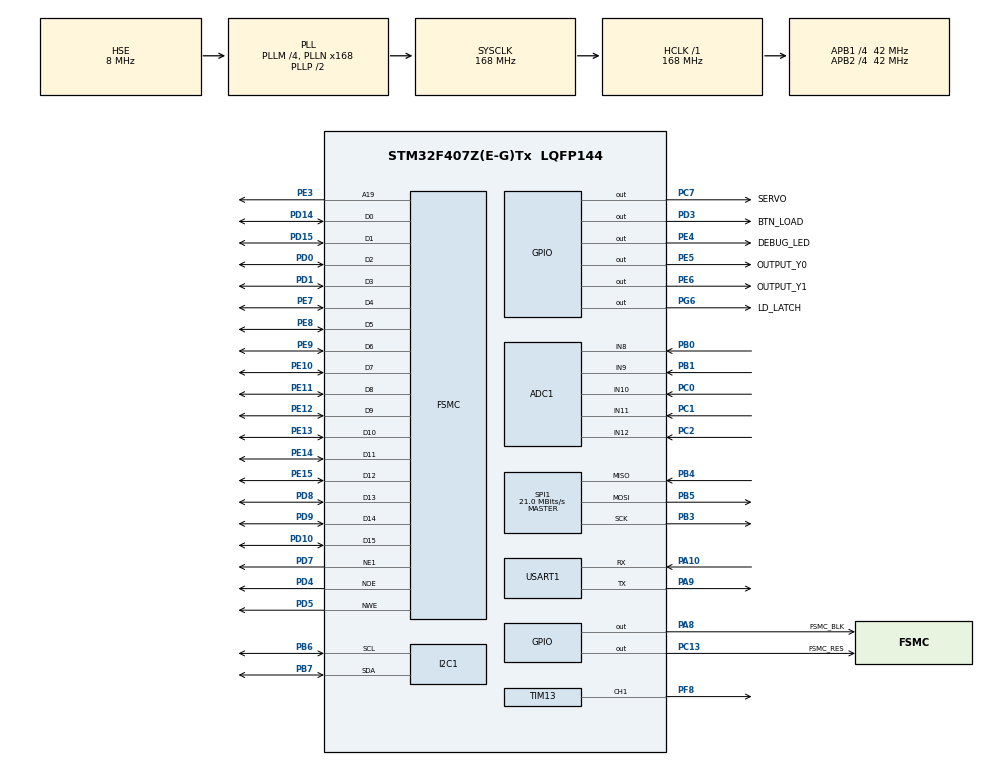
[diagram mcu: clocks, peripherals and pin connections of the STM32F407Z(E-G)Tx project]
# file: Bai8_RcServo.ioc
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ADC1.Channel-0\#ChannelRegularConversion=ADC_CHANNEL_8
ADC1.Channel-1\#ChannelRegularConversion=ADC_CHANNEL_9
ADC1.Channel-2\#ChannelRegularConversion=ADC_CHANNEL_10
ADC1.Channel-3\#ChannelRegularConversion=ADC_CHANNEL_11
ADC1.Channel-4\#ChannelRegularConversion=ADC_CHANNEL_12
ADC1.NbrOfConversion=5
ADC1.NbrOfConversionFlag=1
ADC1.Rank-0\#ChannelRegularConversion=1
ADC1.Rank-1\#ChannelRegularConversion=2
ADC1.Rank-2\#ChannelRegularConversion=3
ADC1.Rank-3\#ChannelRegularConversion=4
ADC1.Rank-4\#ChannelRegularConversion=5
ADC1.SamplingTime-0\#ChannelRegularConversion=ADC_SAMPLETIME_15CYCLES
ADC1.SamplingTime-1\#ChannelRegularConversion=ADC_SAMPLETIME_15CYCLES
ADC1.SamplingTime-2\#ChannelRegularConversion=ADC_SAMPLETIME_15CYCLES
ADC1.SamplingTime-3\#ChannelRegularConversion=ADC_SAMPLETIME_15CYCLES
ADC1.SamplingTime-4\#ChannelRegularConversion=ADC_SAMPLETIME_15CYCLES
ADC1.ScanConvMode=ENABLE
ADC1.master=1
Dma.ADC1.0.Direction=DMA_PERIPH_TO_MEMORY
Dma.ADC1.0.FIFOMode=DMA_FIFOMODE_DISABLE
Dma.ADC1.0.Instance=DMA2_Stream0
Dma.ADC1.0.MemDataAlignment=DMA_MDATAALIGN_HALFWORD
Dma.ADC1.0.MemInc=DMA_MINC_ENABLE
Dma.ADC1.0.Mode=DMA_CIRCULAR
Dma.ADC1.0.PeriphDataAlignment=DMA_PDATAALIGN_HALFWORD
Dma.ADC1.0.PeriphInc=DMA_PINC_DISABLE
Dma.ADC1.0.Priority=DMA_PRIORITY_LOW
Dma.Request0=ADC1
FSMC.AddressSetupTime1=0xf
FSMC.BusTurnAroundDuration1=0
FSMC.DataSetupTime1=60
FSMC.ExtendedAddressSetupTime1=9
FSMC.ExtendedBusTurnAroundDuration1=0
FSMC.ExtendedDataSetupTime1=8
FSMC.ExtendedMode1=FSMC_EXTENDED_MODE_ENABLE
Mcu.Family=STM32F4
Mcu.Name=STM32F407Z(E-G)Tx
Mcu.Package=LQFP144
NVIC.DMA2_Stream0_IRQn=true\:0\:0\:false\:false\:true\:false\:true
NVIC.PriorityGroup=NVIC_PRIORITYGROUP_4
NVIC.TIM2_IRQn=true\:0\:0\:false\:false\:true\:true\:true
NVIC.USART1_IRQn=true\:0\:0\:false\:false\:true\:true\:true
PA10.Mode=Asynchronous
PA10.Signal=USART1_RX
PA13.Mode=Serial_Wire
PA13.Signal=SYS_JTMS-SWDIO
PA14.Mode=Serial_Wire
PA14.Signal=SYS_JTCK-SWCLK
PA8.GPIO_Label=FSMC_BLK
PA8.Signal=GPIO_Output
PA9.Mode=Asynchronous
PA9.Signal=USART1_TX
PB0.Signal=ADCx_IN8
PB1.Signal=ADCx_IN9
PB3.Mode=Full_Duplex_Master
PB3.Signal=SPI1_SCK
PB4.Mode=Full_Duplex_Master
PB4.Signal=SPI1_MISO
PB5.Mode=Full_Duplex_Master
PB5.Signal=SPI1_MOSI
PB6.Mode=I2C
PB6.Signal=I2C1_SCL
PB7.Mode=I2C
PB7.Signal=I2C1_SDA
PC0.Signal=ADCx_IN10
PC1.Signal=ADCx_IN11
PC13-ANTI_TAMP.GPIO_Label=FSMC_RES
PC13-ANTI_TAMP.Signal=GPIO_Output
PC2.Signal=ADCx_IN12
PC7.GPIO_Label=SERVO
PC7.GPIO_Speed=GPIO_SPEED_FREQ_VERY_HIGH
PC7.Signal=GPIO_Output
PD0.Signal=FSMC_D2_DA2
PD1.Signal=FSMC_D3_DA3
PD10.Signal=FSMC_D15_DA15
PD14.Signal=FSMC_D0_DA0
PD15.Signal=FSMC_D1_DA1
PD3.GPIO_Label=BTN_LOAD
PD3.Signal=GPIO_Output
PD4.Signal=FSMC_NOE
PD5.Signal=FSMC_NWE
PD7.Mode=NorPsramChipSelect1_1
PD7.Signal=FSMC_NE1
PD8.Signal=FSMC_D13_DA13
PD9.Signal=FSMC_D14_DA14
PE10.Signal=FSMC_D7_DA7
PE11.Signal=FSMC_D8_DA8
PE12.Signal=FSMC_D9_DA9
PE13.Signal=FSMC_D10_DA10
PE14.Signal=FSMC_D11_DA11
PE15.Signal=FSMC_D12_DA12
PE3.Signal=FSMC_A19
PE4.GPIO_Label=DEBUG_LED
PE4.Signal=GPIO_Output
PE5.GPIO_Label=OUTPUT_Y0
PE5.Signal=GPIO_Output
PE6.GPIO_Label=OUTPUT_Y1
PE6.Signal=GPIO_Output
PE7.Signal=FSMC_D4_DA4
PE8.Signal=FSMC_D5_DA5
PE9.Signal=FSMC_D6_DA6
PF8.Signal=S_TIM13_CH1
PG6.GPIO_Label=LD_LATCH
PG6.Signal=GPIO_Output
PH0-OSC_IN.Mode=HSE-External-Oscillator
PH0-OSC_IN.Signal=RCC_OSC_IN
PH1-OSC_OUT.Mode=HSE-External-Oscillator
PH1-OSC_OUT.Signal=RCC_OSC_OUT
ProjectManager.HeapSize=0x200
ProjectManager.StackSize=0x400
ProjectManager.TargetToolchain=STM32CubeIDE
RCC.48MHZClocksFreq_Value=84000000
RCC.AHBFreq_Value=168000000
RCC.APB1CLKDivider=RCC_HCLK_DIV4
RCC.APB1Freq_Value=42000000
RCC.APB1TimFreq_Value=84000000
RCC.APB2CLKDivider=RCC_HCLK_DIV4
RCC.APB2Freq_Value=42000000
RCC.APB2TimFreq_Value=84000000
RCC.CortexFreq_Value=168000000
RCC.HCLKFreq_Value=168000000
RCC.HSE_VALUE=8000000
RCC.HSI_VALUE=16000000
RCC.LSE_VALUE=32768
RCC.PLLM=4
RCC.PLLN=168
RCC.PLLSourceVirtual=RCC_PLLSOURCE_HSE
RCC.SYSCLKFreq_VALUE=168000000
RCC.SYSCLKSource=RCC_SYSCLKSOURCE_PLLCLK
RCC.VCOOutputFreq_Value=336000000
SH.ADCx_IN10.0=ADC1_IN10,IN10
SH.ADCx_IN11.0=ADC1_IN11,IN11
SH.ADCx_IN12.0=ADC1_IN12,IN12
SH.ADCx_IN8.0=ADC1_IN8,IN8
SH.ADCx_IN9.0=ADC1_IN9,IN9
SH.FSMC_A19.0=FSMC_A19,A19_1
SH.FSMC_D0_DA0.0=FSMC_D0,16b-d1
SH.FSMC_D10_DA10.0=FSMC_D10,16b-d1
SH.FSMC_D11_DA11.0=FSMC_D11,16b-d1
SH.FSMC_D12_DA12.0=FSMC_D12,16b-d1
SH.FSMC_D13_DA13.0=FSMC_D13,16b-d1
SH.FSMC_D14_DA14.0=FSMC_D14,16b-d1
SH.FSMC_D15_DA15.0=FSMC_D15,16b-d1
SH.FSMC_D1_DA1.0=FSMC_D1,16b-d1
SH.FSMC_D2_DA2.0=FSMC_D2,16b-d1
SH.FSMC_D3_DA3.0=FSMC_D3,16b-d1
SH.FSMC_D4_DA4.0=FSMC_D4,16b-d1
SH.FSMC_D5_DA5.0=FSMC_D5,16b-d1
SH.FSMC_D6_DA6.0=FSMC_D6,16b-d1
SH.FSMC_D7_DA7.0=FSMC_D7,16b-d1
SH.FSMC_D8_DA8.0=FSMC_D8,16b-d1
SH.FSMC_D9_DA9.0=FSMC_D9,16b-d1
SH.FSMC_NOE.0=FSMC_NOE,Lcd1
SH.FSMC_NWE.0=FSMC_NWE,Lcd1
SH.S_TIM13_CH1.0=TIM13_CH1,PWM Generation1 CH1
SPI1.CalculateBaudRate=21.0 MBits/s
SPI1.Direction=SPI_DIRECTION_2LINES
SPI1.Mode=SPI_MODE_MASTER
SPI1.VirtualType=VM_MASTER
TIM13.Channel=TIM_CHANNEL_1
TIM13.Period=100-1
TIM13.Prescaler=840-1
TIM2.Period=100-1
TIM2.Prescaler=840-1
USART1.VirtualMode=VM_ASYNC
VP_TIM13_VS_ClockSourceINT.Mode=Enable_Timer
VP_TIM2_VS_ClockSourceINT.Mode=Internal
board=custom

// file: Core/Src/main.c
/* USER CODE BEGIN Header */
/**
  ******************************************************************************
  * @file           : main.c
  * @brief          : Main program body
  ******************************************************************************
  * @attention
  *
  * <h2><center>&copy; Copyright (c) 2023 STMicroelectronics.
  * All rights reserved.</center></h2>
  *
  * This software component is licensed by ST under BSD 3-Clause license,
  * the "License"; You may not use this file except in compliance with the
  * License. You may obtain a copy of the License at:
  *                        opensource.org/licenses/BSD-3-Clause
  *
  ******************************************************************************
  */
/* USER CODE END Header */
#include "main.h"
#include "adc.h"
#include "dma.h"
#include "i2c.h"
#include "spi.h"
#include "tim.h"
#include "usart.h"
#include "gpio.h"
#include "fsmc.h"

/* USER CODE BEGIN Includes */
#include "software_timer.h"
#include "button.h"
#include "led7seg.h"
#include "lcd.h"
#include "picture.h"
#include "ds3231.h"
#include "sensor.h"
#include "buzzer.h"
/* USER CODE END Includes */

/* USER CODE BEGIN PV */
uint8_t count_led_debug = 0;

uint16_t count_led7 = 0;
/* USER CODE END PV */

void SystemClock_Config(void);
/* USER CODE BEGIN PFP */
void system_init();
void test_LedDebug();
uint8_t isButtonUp();
uint8_t isButtonDown();
void test_Adc();
void test_Uart1();
void test_Uart2();
/* USER CODE END PFP */

int main(void)
{

  /* MCU Configuration--------------------------------------------------------*/

  /* Reset of all peripherals, Initializes the Flash interface and the Systick. */
  HAL_Init();

  /* Configure the system clock */
  SystemClock_Config();

  /* Initialize all configured peripherals */
  MX_GPIO_Init();
  MX_TIM2_Init();
  MX_SPI1_Init();
  MX_FSMC_Init();
  MX_DMA_Init();
  MX_ADC1_Init();
  MX_TIM13_Init();
  MX_I2C1_Init();
  MX_USART1_UART_Init();
  /* USER CODE BEGIN 2 */
  system_init();
  lcd_Clear(BLACK);
  HAL_Delay(1000);
  lcd_Fill(0, 0, 240, 20, BLUE);
  lcd_StrCenter(0, 0, "Xin chao cac ban", WHITE, BLUE, 16, 0);
  lcd_ShowStr(30, 30, "Ten: Thinh", RED, YELLOW, 24, 0);
  lcd_ShowStr(30, 60, "Nam sinh:", GREEN, BLACK, 24, 0);
  lcd_ShowIntNum(150, 60, 2002, 4, BRED, BLACK, 24);
  lcd_ShowPicture(70, 200, 97, 100, gImage_bk);
  HAL_Delay(2000);
  uart_Rs232SendString("Xin chao lop vdk");
  /* USER CODE END 2 */

  /* Infinite loop */
  /* USER CODE BEGIN WHILE */
  while (1)
  {
	  while(!flag_timer2);
	  flag_timer2 = 0;
	  button_Scan();
	  test_LedDebug();
//	  test_Adc();
//	  test_Uart1();
//	  test_Uart2();
//	  buzzer_Ring();
	  if(button_count[3] == 1) servo_SetAngle(0);
	  if(button_count[7] == 1) servo_SetAngle(180);
    /* USER CODE END WHILE */

  }
}

void SystemClock_Config(void)
{
  RCC_OscInitTypeDef RCC_OscInitStruct = {0};
  RCC_ClkInitTypeDef RCC_ClkInitStruct = {0};

  /** Configure the main internal regulator output voltage
  */
  __HAL_RCC_PWR_CLK_ENABLE();
  __HAL_PWR_VOLTAGESCALING_CONFIG(PWR_REGULATOR_VOLTAGE_SCALE1);
  /** Initializes the RCC Oscillators according to the specified parameters
  * in the RCC_OscInitTypeDef structure.
  */
  RCC_OscInitStruct.OscillatorType = RCC_OSCILLATORTYPE_HSE;
  RCC_OscInitStruct.HSEState = RCC_HSE_ON;
  RCC_OscInitStruct.PLL.PLLState = RCC_PLL_ON;
  RCC_OscInitStruct.PLL.PLLSource = RCC_PLLSOURCE_HSE;
  RCC_OscInitStruct.PLL.PLLM = 4;
  RCC_OscInitStruct.PLL.PLLN = 168;
  RCC_OscInitStruct.PLL.PLLP = RCC_PLLP_DIV2;
  RCC_OscInitStruct.PLL.PLLQ = 4;
  if (HAL_RCC_OscConfig(&RCC_OscInitStruct) != HAL_OK)
  {
    Error_Handler();
  }
  /** Initializes the CPU, AHB and APB buses clocks
  */
  RCC_ClkInitStruct.ClockType = RCC_CLOCKTYPE_HCLK|RCC_CLOCKTYPE_SYSCLK
                              |RCC_CLOCKTYPE_PCLK1|RCC_CLOCKTYPE_PCLK2;
  RCC_ClkInitStruct.SYSCLKSource = RCC_SYSCLKSOURCE_PLLCLK;
  RCC_ClkInitStruct.AHBCLKDivider = RCC_SYSCLK_DIV1;
  RCC_ClkInitStruct.APB1CLKDivider = RCC_HCLK_DIV4;
  RCC_ClkInitStruct.APB2CLKDivider = RCC_HCLK_DIV4;

  if (HAL_RCC_ClockConfig(&RCC_ClkInitStruct, FLASH_LATENCY_5) != HAL_OK)
  {
    Error_Handler();
  }
}

/* USER CODE BEGIN 4 */
void system_init(){
	  HAL_GPIO_WritePin(OUTPUT_Y0_GPIO_Port, OUTPUT_Y0_Pin, 0);
	  HAL_GPIO_WritePin(OUTPUT_Y1_GPIO_Port, OUTPUT_Y1_Pin, 0);
	  HAL_GPIO_WritePin(DEBUG_LED_GPIO_Port, DEBUG_LED_Pin, 0);
	  timer_init();
//	  led7_init();
	  button_init();
	  lcd_init();
//	  ds3231_init();
	  sensor_init();
//	  buzzer_init();
	  uart_init_rs232();
	  servo_init();
	  setTimer2(50);
	  HAL_Delay(1000);
}

void test_LedDebug(){
	count_led_debug = (count_led_debug + 1)%20;
	if(count_led_debug == 0){
		HAL_GPIO_TogglePin(DEBUG_LED_GPIO_Port, DEBUG_LED_Pin);
	}
}

uint8_t isButtonUp(){
	if(button_count[3] == 1 || (button_count[3] > 20 && button_count[3]%2 == 0)){
		return 1;
	} else return 0;
}

uint8_t isButtonDown(){
	if(button_count[7] == 1){
		return 1;
	} else return 0;
}

uint8_t count_adc = 0;

void test_Adc(){
	count_adc = (count_adc + 1)%20;
	if(count_adc == 0){
		sensor_Read();
		lcd_ShowStr(10, 100, "Voltage:", RED, BLACK, 16, 0);
//		lcd_ShowIntNum(130, 100, adc_receive[0], 4, RED, BLACK, 16);
		lcd_ShowFloatNum1(130, 100,sensor_GetVoltage(), 4, RED, BLACK, 16);
		lcd_ShowStr(10, 120, "Current:", RED, BLACK, 16, 0);
//		lcd_ShowIntNum(130, 120, adc_receive[1], 4, RED, BLACK, 16);
		lcd_ShowFloatNum1(130, 120,sensor_GetCurrent(), 4, RED, BLACK, 16);
		lcd_ShowStr(10, 140, "Light:", RED, BLACK, 16, 0);
		lcd_ShowIntNum(130, 140, adc_receive[2], 4, RED, BLACK, 16);
		lcd_ShowStr(10, 160, "Resistor:", RED, BLACK, 16, 0);
		lcd_ShowIntNum(130, 160, adc_receive[3], 4, RED, BLACK, 16);
		lcd_ShowStr(10, 180, "Temperature:", RED, BLACK, 16, 0);
//		lcd_ShowIntNum(130, 180, adc_receive[4], 4, RED, BLACK, 16);
		lcd_ShowFloatNum1(130, 180,sensor_GetTemperature(), 4, RED, BLACK, 16);
	}
}

uint8_t count_uart = 0;

void test_Uart1(){
	count_uart = (count_uart + 1)%20;
		if(count_uart == 0){
			uart_Rs232SendString("Resistor: ");
			uart_Rs232SendNum(sensor_GetVarResistor());
			uart_Rs232SendString("\r\n");
		}
}

void test_Uart2(){
	for(int i = 0; i < 16; i++){
		if(button_count[i] == 1) uart_Rs232SendNum(i);
	}
}

/* USER CODE END 4 */

void Error_Handler(void)
{
  __disable_irq();
  while (1)
  {
  }
}

/************************ (C) COPYRIGHT STMicroelectronics *****END OF FILE****/
